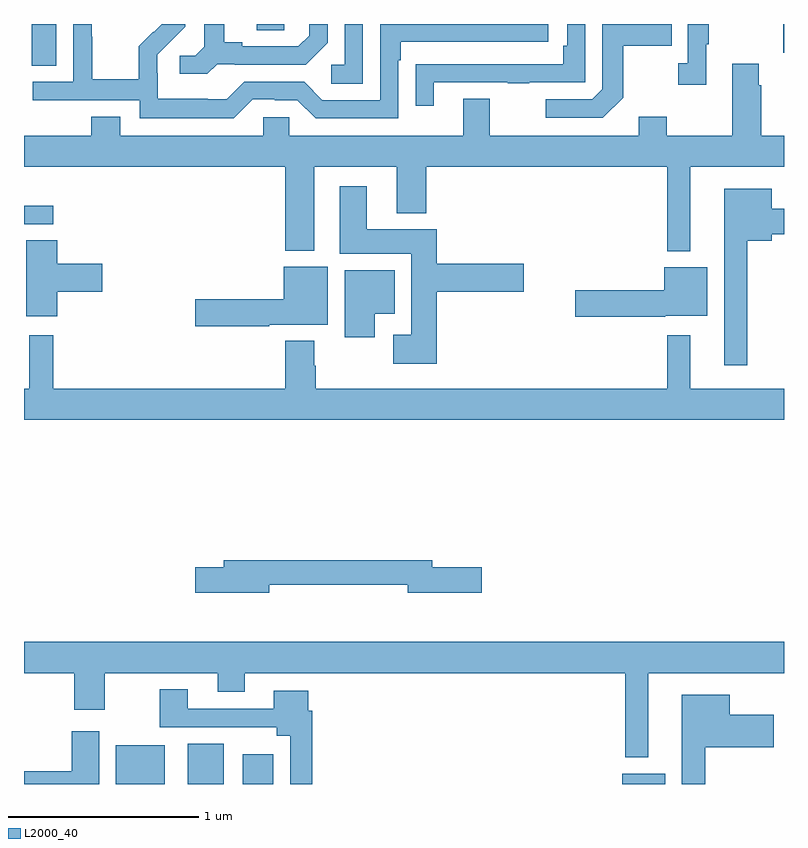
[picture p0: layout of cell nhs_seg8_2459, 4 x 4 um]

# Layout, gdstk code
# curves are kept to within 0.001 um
import gdstk
lib = gdstk.Library(unit=1e-6, precision=1e-09)
def R(c, l, rs):  # rectangles x0, y0, x1, y1
    for r in rs: c.add(gdstk.rectangle(r[:2], r[2:], *l))
def P(c, l, *ps):  # polygons
    for p in ps: c.add(gdstk.Polygon(p, *l))
L2000_40 = (2000, 40)

nhs_seg8_2459 = lib.new_cell('nhs_seg8_2459')
R(nhs_seg8_2459, L2000_40, [(265.484,1131.9,265.741,1132.105), (265.862,1131.9,266.05,1132.111), (266.15,1131.9,266.311,1132.057), (268.148,1131.9,268.375,1131.955), (265,1134.846,265.153,1134.944), (265.04,1135.681,265.171,1135.9), (268.996,1135.75,269,1135.9), (266.225,1135.867,266.37,1135.9)])
P(nhs_seg8_2459, L2000_40, [(268.591,1135.793),(268.603,1135.793),(268.603,1135.9),(268.494,1135.9),(268.494,1135.694),(268.443,1135.694),(268.443,1135.581),(268.591,1135.581)],
  [(266.205,1135.503),(266.321,1135.503),(266.321,1135.5),(266.439,1135.5),(266.535,1135.404),(266.97,1135.404),(266.97,1135.709),(266.983,1135.709),(266.983,1135.806),(267.76,1135.806),(267.76,1135.9),(266.874,1135.9),(266.874,1135.5),(266.571,1135.5),(266.475,1135.596),(266.16,1135.596),(266.067,1135.503),(265.967,1135.503),(265.967,1135.507),(265.704,1135.507),(265.704,1135.641),(265.702,1135.641),(265.702,1135.738),(265.848,1135.886),(265.848,1135.9),(265.726,1135.9),(265.683,1135.857),(265.68,1135.86),(265.603,1135.783),(265.603,1135.609),(265.359,1135.609),(265.359,1135.832),(265.356,1135.832),(265.356,1135.9),(265.26,1135.9),(265.26,1135.596),(265.047,1135.596),(265.047,1135.5),(265.608,1135.5),(265.608,1135.403),(266.105,1135.403)],
  [(266.784,1135.9),(266.688,1135.9),(266.688,1135.686),(266.616,1135.686),(266.616,1135.585),(266.784,1135.585)],
  [(266.016,1135.689),(266.11,1135.689),(266.11,1135.686),(266.482,1135.686),(266.598,1135.802),(266.598,1135.9),(266.501,1135.9),(266.501,1135.839),(266.444,1135.782),(266.149,1135.782),(266.149,1135.805),(266.053,1135.805),(266.053,1135.9),(265.949,1135.9),(265.949,1135.781),(265.902,1135.734),(265.821,1135.734),(265.821,1135.637),(265.964,1135.637)],
  [(267.157,1135.593),(267.547,1135.593),(267.547,1135.588),(267.659,1135.588),(267.659,1135.593),(267.954,1135.593),(267.954,1135.9),(267.858,1135.9),(267.858,1135.786),(267.838,1135.786),(267.838,1135.689),(267.163,1135.689),(267.163,1135.688),(267.061,1135.688),(267.061,1135.47),(267.157,1135.47)],
  [(268.153,1135.513),(268.153,1135.786),(268.409,1135.786),(268.409,1135.9),(268.044,1135.9),(268.044,1135.557),(267.99,1135.503),(267.747,1135.503),(267.747,1135.407),(268.047,1135.407)],
  [(265.355,1135.411),(265.355,1135.312),(265,1135.312),(265,1135.148),(266.375,1135.148),(266.375,1134.707),(266.527,1134.707),(266.527,1135.148),(266.963,1135.148),(266.963,1134.905),(267.116,1134.905),(267.116,1135.148),(268.386,1135.148),(268.386,1134.704),(268.507,1134.704),(268.507,1135.148),(269,1135.148),(269,1135.312),(268.88,1135.312),(268.88,1135.577),(268.867,1135.577),(268.867,1135.69),(268.727,1135.69),(268.727,1135.312),(268.383,1135.312),(268.383,1135.411),(268.235,1135.411),(268.235,1135.312),(267.451,1135.312),(267.451,1135.507),(267.311,1135.507),(267.311,1135.312),(266.397,1135.312),(266.397,1135.41),(266.259,1135.41),(266.259,1135.312),(265.507,1135.312),(265.507,1135.411)],
  [(267.173,1134.491),(267.631,1134.491),(267.631,1134.638),(267.173,1134.638),(267.173,1134.82),(266.803,1134.82),(266.803,1135.045),(266.663,1135.045),(266.663,1134.692),(267.038,1134.692),(267.038,1134.265),(266.943,1134.265),(266.943,1134.113),(267.173,1134.113)],
  [(268.807,1134.758),(268.936,1134.758),(268.936,1134.794),(269,1134.794),(269,1134.928),(268.936,1134.928),(268.936,1135.033),(268.685,1135.033),(268.685,1134.105),(268.807,1134.105)],
  [(265.175,1134.491),(265.411,1134.491),(265.411,1134.638),(265.175,1134.638),(265.175,1134.761),(265.013,1134.761),(265.013,1134.363),(265.175,1134.363)],
  [(266.291,1134.317),(266.599,1134.317),(266.599,1134.622),(266.366,1134.622),(266.366,1134.452),(265.902,1134.452),(265.902,1134.31),(266.291,1134.31)],
  [(268.374,1134.365),(268.597,1134.365),(268.597,1134.619),(268.37,1134.619),(268.37,1134.5),(267.9,1134.5),(267.9,1134.358),(268.374,1134.358)],
  [(266.845,1134.374),(266.95,1134.374),(266.95,1134.604),(266.687,1134.604),(266.687,1134.252),(266.845,1134.252)],
  [(269,1133.98),(268.507,1133.98),(268.507,1134.262),(268.386,1134.262),(268.386,1133.98),(266.535,1133.98),(266.535,1134.101),(266.527,1134.101),(266.527,1134.232),(266.375,1134.232),(266.375,1133.98),(265.154,1133.98),(265.154,1134.262),(265.028,1134.262),(265.028,1133.98),(265,1133.98),(265,1133.816),(269,1133.816)],
  [(266.29,1132.95),(267.02,1132.95),(267.02,1132.907),(267.409,1132.907),(267.409,1133.042),(267.148,1133.042),(267.148,1133.078),(266.051,1133.078),(266.051,1133.042),(265.902,1133.042),(265.902,1132.907),(266.29,1132.907)],
  [(268.285,1132.484),(269,1132.484),(269,1132.648),(265,1132.648),(265,1132.484),(265.265,1132.484),(265.265,1132.29),(265.425,1132.29),(265.425,1132.484),(266.021,1132.484),(266.021,1132.385),(266.161,1132.385),(266.161,1132.484),(268.164,1132.484),(268.164,1132.04),(268.285,1132.04)],
  [(266.516,1132.286),(266.497,1132.286),(266.497,1132.39),(266.315,1132.39),(266.315,1132.296),(265.861,1132.296),(265.861,1132.399),(265.714,1132.399),(265.714,1132.2),(266.33,1132.2),(266.33,1132.154),(266.4,1132.154),(266.4,1131.9),(266.516,1131.9)],
  [(268.585,1132.094),(268.945,1132.094),(268.945,1132.264),(268.714,1132.264),(268.714,1132.369),(268.463,1132.369),(268.463,1131.9),(268.585,1131.9)],
  [(265.396,1132.177),(265.25,1132.177),(265.25,1131.968),(265,1131.968),(265,1131.9),(265.396,1131.9)])

lib.write_gds('nhs_seg8_2459.gds')
